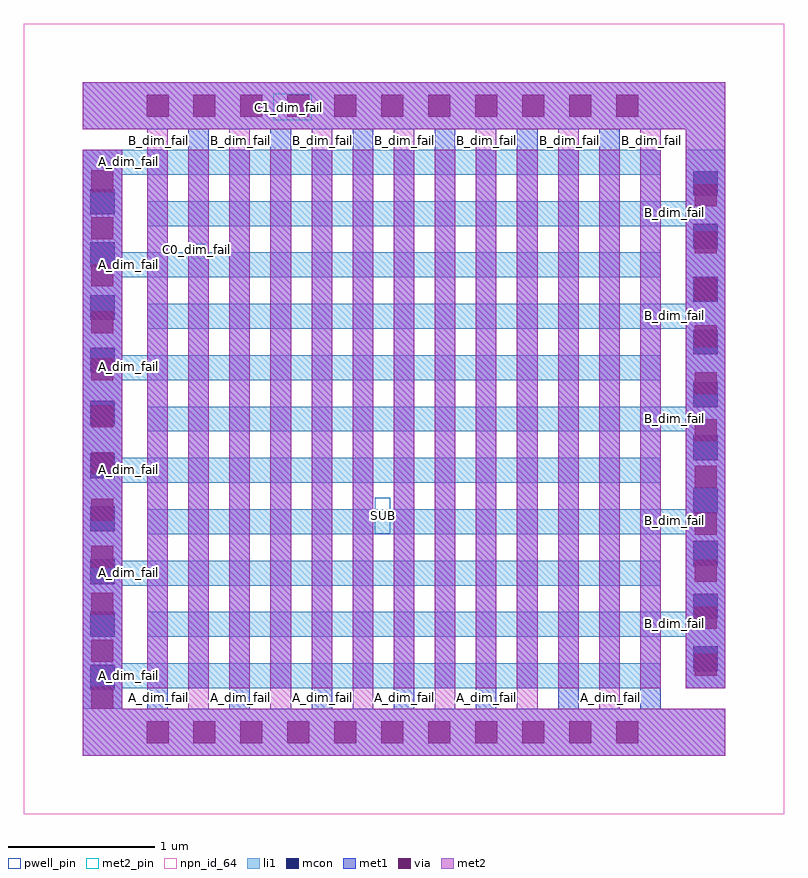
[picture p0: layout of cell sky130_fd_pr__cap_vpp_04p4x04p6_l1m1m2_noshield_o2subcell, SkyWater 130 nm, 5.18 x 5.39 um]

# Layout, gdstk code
import gdstk
lib = gdstk.Library(unit=1e-6, precision=1e-09)
def R(c, l, rs):  # rectangles x0, y0, x1, y1
    for r in rs: c.add(gdstk.rectangle(r[:2], r[2:], *l))
def A(c, l, x, y, w, h, nx, ny, dx, dy):  # array of equal rectangles
    R(c, l, [(x+i*dx, y+j*dy, x+i*dx+w, y+j*dy+h) for i in range(nx) for j in range(ny)])
li1 = (67, 20)
mcon = (67, 44)
met1 = (68, 20)
via = (68, 44)
met2_pin = (69, 16)
met2 = (69, 20)
npn_id_64 = (82, 64)
pwell_pin = (122, 16)

sky130_fd_pr__cap_vpp_04 = lib.new_cell('sky130_fd_pr__cap_vpp_04p4x04p6_l1m1m2_noshield_o2subcell')
A(sky130_fd_pr__cap_vpp_04, li1, 0, 0.46, 3.94, 0.17, 1, 6, 0, 0.7)
A(sky130_fd_pr__cap_vpp_04, li1, 0.44, 0.81, 3.94, 0.17, 1, 5, 0, 0.7)
R(sky130_fd_pr__cap_vpp_04, li1, [(0,0.32,0.27,4.13), (4.11,0.46,4.38,4.13)])
A(sky130_fd_pr__cap_vpp_04, mcon, 0.05, 0.45, 0.17, 0.17, 1, 10, 0, 0.36)
A(sky130_fd_pr__cap_vpp_04, mcon, 4.16, 0.575, 0.17, 0.17, 1, 10, 0, 0.36)
A(sky130_fd_pr__cap_vpp_04, met1, 0.44, 0.32, 0.14, 3.81, 7, 1, 0.56, 0)
A(sky130_fd_pr__cap_vpp_04, met1, 0.72, 0.46, 0.14, 3.81, 6, 1, 0.56, 0)
R(sky130_fd_pr__cap_vpp_04, met1, [(0,0,4.38,0.32), (0,0.32,0.27,4.13), (4.11,0.46,4.38,4.27), (0,4.27,4.38,4.59)])
A(sky130_fd_pr__cap_vpp_04, via, 0.06, 0.32, 0.15, 0.15, 1, 12, 0, 0.32)
A(sky130_fd_pr__cap_vpp_04, via, 4.17, 0.545, 0.15, 0.15, 1, 11, 0, 0.32)
A(sky130_fd_pr__cap_vpp_04, via, 0.435, 4.355, 0.15, 0.15, 11, 1, 0.32, 0)
R(sky130_fd_pr__cap_vpp_04, via, [(0.435,0.085,0.585,0.235), (0.435,0.085,0.585,0.235), (0.755,0.085,0.905,0.235), (0.755,0.085,0.905,0.235), (1.075,0.085,1.225,0.235), (1.075,0.085,1.225,0.235), (1.395,0.085,1.545,0.235), (1.395,0.085,1.545,0.235), (1.715,0.085,1.865,0.235), (1.715,0.085,1.865,0.235), (2.035,0.085,2.185,0.235), (2.035,0.085,2.185,0.235), (2.355,0.085,2.505,0.235), (2.355,0.085,2.505,0.235), (2.675,0.085,2.825,0.235), (2.675,0.085,2.825,0.235), (2.995,0.085,3.145,0.235), (2.995,0.085,3.145,0.235), (3.315,0.085,3.465,0.235), (3.315,0.085,3.465,0.235), (3.635,0.085,3.785,0.235), (3.635,0.085,3.785,0.235)])
R(sky130_fd_pr__cap_vpp_04, met2_pin, [(0.739,3.388,0.834,3.488), (1.3,4.331,1.56,4.511)])
A(sky130_fd_pr__cap_vpp_04, met2, 0.72, 0.32, 0.14, 3.81, 6, 1, 0.56, 0)
A(sky130_fd_pr__cap_vpp_04, met2, 0.44, 0.46, 0.14, 3.81, 7, 1, 0.56, 0)
R(sky130_fd_pr__cap_vpp_04, met2, [(0,0,4.38,0.32), (0,0.32,0.27,4.13), (4.11,0.46,4.38,4.27), (0,4.27,4.38,4.59)])
R(sky130_fd_pr__cap_vpp_04, npn_id_64, [(-0.4,-0.4,4.78,4.99)])
R(sky130_fd_pr__cap_vpp_04, pwell_pin, [(1.992,1.512,2.097,1.757)])
sky130_fd_pr__cap_vpp_04.add(gdstk.Label('B_dim_fail', (4.035,2.3), layer=83, texttype=44))
sky130_fd_pr__cap_vpp_04.add(gdstk.Label('B_dim_fail', (4.035,0.9), layer=83, texttype=44))
sky130_fd_pr__cap_vpp_04.add(gdstk.Label('B_dim_fail', (4.035,1.6), layer=83, texttype=44))
sky130_fd_pr__cap_vpp_04.add(gdstk.Label('B_dim_fail', (4.035,3.7), layer=83, texttype=44))
sky130_fd_pr__cap_vpp_04.add(gdstk.Label('B_dim_fail', (4.035,3), layer=83, texttype=44))
sky130_fd_pr__cap_vpp_04.add(gdstk.Label('A_dim_fail', (0.315,3.35), layer=83, texttype=44))
sky130_fd_pr__cap_vpp_04.add(gdstk.Label('A_dim_fail', (0.315,1.25), layer=83, texttype=44))
sky130_fd_pr__cap_vpp_04.add(gdstk.Label('A_dim_fail', (0.315,4.05), layer=83, texttype=44))
sky130_fd_pr__cap_vpp_04.add(gdstk.Label('A_dim_fail', (0.315,0.55), layer=83, texttype=44))
sky130_fd_pr__cap_vpp_04.add(gdstk.Label('A_dim_fail', (0.315,1.95), layer=83, texttype=44))
sky130_fd_pr__cap_vpp_04.add(gdstk.Label('A_dim_fail', (0.315,2.65), layer=83, texttype=44))
sky130_fd_pr__cap_vpp_04.add(gdstk.Label('B_dim_fail', (0.515,4.195), layer=83, texttype=44))
sky130_fd_pr__cap_vpp_04.add(gdstk.Label('B_dim_fail', (1.075,4.195), layer=83, texttype=44))
sky130_fd_pr__cap_vpp_04.add(gdstk.Label('B_dim_fail', (1.635,4.195), layer=83, texttype=44))
sky130_fd_pr__cap_vpp_04.add(gdstk.Label('B_dim_fail', (2.195,4.195), layer=83, texttype=44))
sky130_fd_pr__cap_vpp_04.add(gdstk.Label('B_dim_fail', (2.755,4.195), layer=83, texttype=44))
sky130_fd_pr__cap_vpp_04.add(gdstk.Label('B_dim_fail', (3.315,4.195), layer=83, texttype=44))
sky130_fd_pr__cap_vpp_04.add(gdstk.Label('B_dim_fail', (3.875,4.195), layer=83, texttype=44))
sky130_fd_pr__cap_vpp_04.add(gdstk.Label('A_dim_fail', (3.595,0.395), layer=83, texttype=44))
sky130_fd_pr__cap_vpp_04.add(gdstk.Label('B_dim_fail', (0.78,4.195), layer=83, texttype=44))
sky130_fd_pr__cap_vpp_04.add(gdstk.Label('B_dim_fail', (1.34,4.195), layer=83, texttype=44))
sky130_fd_pr__cap_vpp_04.add(gdstk.Label('B_dim_fail', (1.9,4.195), layer=83, texttype=44))
sky130_fd_pr__cap_vpp_04.add(gdstk.Label('B_dim_fail', (2.46,4.195), layer=83, texttype=44))
sky130_fd_pr__cap_vpp_04.add(gdstk.Label('B_dim_fail', (3.02,4.195), layer=83, texttype=44))
sky130_fd_pr__cap_vpp_04.add(gdstk.Label('B_dim_fail', (3.58,4.195), layer=83, texttype=44))
sky130_fd_pr__cap_vpp_04.add(gdstk.Label('A_dim_fail', (0.515,0.395), layer=83, texttype=44))
sky130_fd_pr__cap_vpp_04.add(gdstk.Label('A_dim_fail', (1.075,0.395), layer=83, texttype=44))
sky130_fd_pr__cap_vpp_04.add(gdstk.Label('A_dim_fail', (1.635,0.395), layer=83, texttype=44))
sky130_fd_pr__cap_vpp_04.add(gdstk.Label('A_dim_fail', (2.195,0.395), layer=83, texttype=44))
sky130_fd_pr__cap_vpp_04.add(gdstk.Label('A_dim_fail', (2.755,0.395), layer=83, texttype=44))
sky130_fd_pr__cap_vpp_04.add(gdstk.Label('A_dim_fail', (3.315,0.395), layer=83, texttype=44))
sky130_fd_pr__cap_vpp_04.add(gdstk.Label('A_dim_fail', (3.875,0.395), layer=83, texttype=44))
sky130_fd_pr__cap_vpp_04.add(gdstk.Label('A_dim_fail', (2.475,0.395), layer=83, texttype=44))
sky130_fd_pr__cap_vpp_04.add(gdstk.Label('A_dim_fail', (3.035,0.395), layer=83, texttype=44))
sky130_fd_pr__cap_vpp_04.add(gdstk.Label('A_dim_fail', (0.795,0.395), layer=83, texttype=44))
sky130_fd_pr__cap_vpp_04.add(gdstk.Label('A_dim_fail', (1.355,0.395), layer=83, texttype=44))
sky130_fd_pr__cap_vpp_04.add(gdstk.Label('A_dim_fail', (1.915,0.395), layer=83, texttype=44))
sky130_fd_pr__cap_vpp_04.add(gdstk.Label('C1_dim_fail', (1.405,4.421), layer=69, texttype=5))
sky130_fd_pr__cap_vpp_04.add(gdstk.Label('C0_dim_fail', (0.774,3.448), layer=69, texttype=5))
sky130_fd_pr__cap_vpp_04.add(gdstk.Label('SUB', (2.047,1.637), layer=64, texttype=59))

lib.write_gds('sky130_fd_pr__cap_vpp_04p4x04p6_l1m1m2_noshield_o2subcell.gds')
